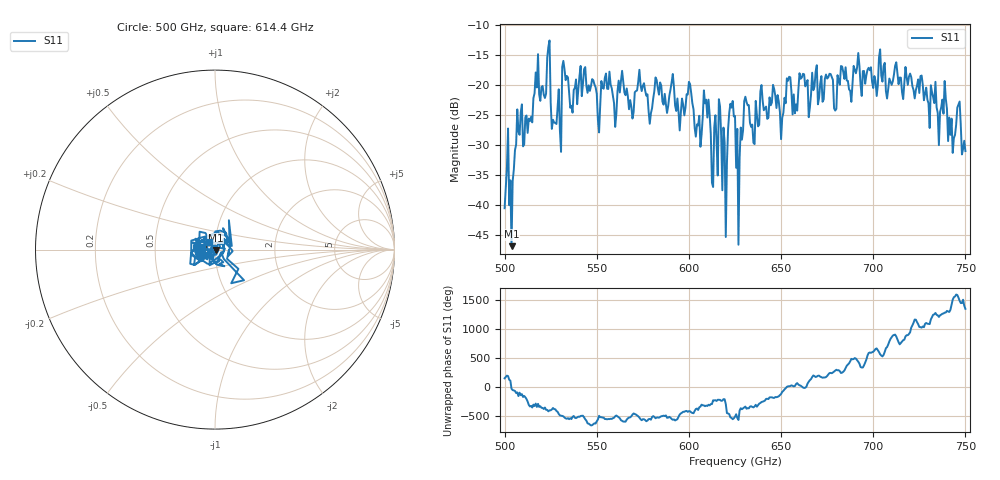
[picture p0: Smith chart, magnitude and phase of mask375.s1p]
!Created with skrf (http://scikit-rf.org).
# GHz S MA R 50.0
!freq magS11 angS11
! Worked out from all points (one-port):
!   401 points, 500 GHz to 750 GHz, reference 50 ohm
!   lowest |S11| = -46.8 dB at 503.8 GHz (marker M1), VSWR 1.01, Z = 50.4 - j0.264 ohm
!   |S11| at or under -10 dB: start of sweep to end of sweep
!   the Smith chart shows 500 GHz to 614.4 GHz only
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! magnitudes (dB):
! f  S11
! 500 GHz  -40.5
! 503.8 GHz  -46.8
! 508.1 GHz  -28.3
! 513.8 GHz  -26.0
! 516.9 GHz  -17.9
! 523.8 GHz  -13.6
! 526.9 GHz  -26.2
! 531.2 GHz  -17.0
! 532.5 GHz  -17.4
! 562.5 GHz  -21.2
! 593.8 GHz  -22.2
! 600 GHz  -19.5
! 605 GHz  -26.7
! 609.4 GHz  -22.4
! 612.5 GHz  -36.2
! 617.5 GHz  -28.3
! 619.4 GHz  -29.5
! 622.5 GHz  -23.1
! 625 GHz  -25.1
! 626.9 GHz  -46.6
! 631.2 GHz  -22.8
! 634.4 GHz  -26.6
! 656.2 GHz  -24.9
! 687.5 GHz  -21.0
! 718.8 GHz  -20.0
! 743.1 GHz  -31.3
! 746.2 GHz  -23.2
! 750 GHz  -31.0
